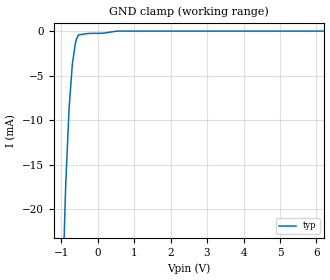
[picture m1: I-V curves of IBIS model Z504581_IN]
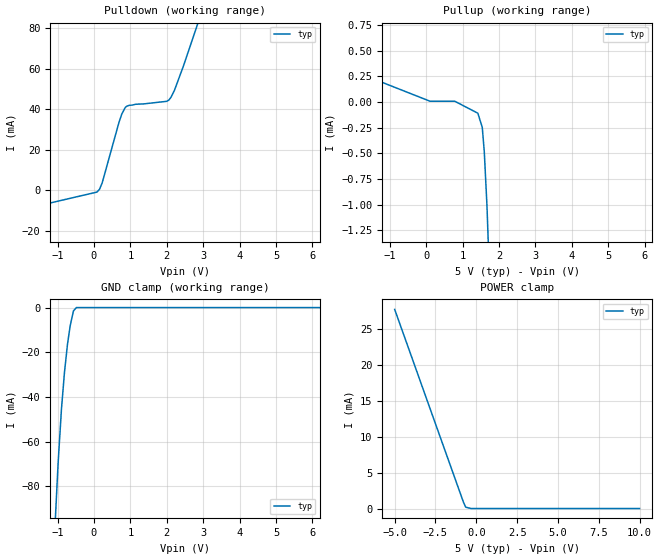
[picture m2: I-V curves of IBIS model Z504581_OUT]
| YOU ARE ONLY AUTHORIZED TO USE THIS SOFTWARE
| ACCORDING TO LICENSOR'S LICENSE RESTRICTIONS.
[IBIS Ver] 3.1
[File Name] sn74ls190d.ibs
[File Rev] 2.0
[Source] Measured and created by ICX Technology
[Date] Friday 7/14/00 9:08:18 AM
[Copyright]
| (C) COPYRIGHT 1993-2000
| MENTOR GRAPHICS CORPORATION
| ICX STANDARD LIBRARY, ICX PROJECT MODELING,
| ICX CUSTOM MODELING, ICX VENDOR MODEL
| ALL RIGHTS RESERVED.
| THE FOLLOWING ARE TRADEMARKS OR SERVICE MARKS OF
| MENTOR GRAPHICS CORPORATION:ICX (R), ICX STANDARD
| LIBRARY(R), ICX PROJECT MODELING(R), ICX CUSTOM
| MODELING(R), qualityIBIS(TM), MODELVIEWER(TM),
| AND MODELEDITOR(TM)
| ALL COPIES OF SOFTWARE, INCLUDING BUT NOT LIMITED TO
| ANY MODIFICATIONS, ENHANCEMENTS OR DERIVATIVE WORKS,
| MUST CONTAIN ALL MENTOR GRAPHICS CORPORATION'S
| NOTICES AND LEGENDS, INCLUDING THOSE EMBEDDED IN
| SOFTWARE AND THOSE AFFIXED TO SOFTWARE MEDIUM
| AND CONTAINER, AS RECEIVED FROM MENTOR GRAPHICS
| CORPORATION.
|  ZAP Model Builder 2.7
[Component] SN74LS190D
[Manufacturer] OnSemiconductor
[Package]
| variable   typ   min   max
R_pkg  .156ohms NA NA
L_pkg  3.148nH NA NA
C_pkg  .388pF NA NA
[Pin] signal_name  model_name  R_pin  L_pin C_pin
1 B Z504581_IN .162 3.798n .418p
2 QB Z504581_OUT .158 3.358n .398p
3 QA Z504581_OUT .154 2.928n .378p
4 _CTEN Z504581_IN .15 2.508n .358p
5 D_U Z504581_IN .15 2.508n .358p
6 QC Z504581_OUT .154 2.928n .378p
7 QD Z504581_OUT .158 3.358n .398p
8 GND GND .162 3.798n .418p
9 D Z504581_IN .162 3.798n .418p
10 C Z504581_IN .158 3.358n .398p
11 _LOAD Z504581_IN .154 2.928n .378p
12 MAX_MIN Z504581_OUT .15 2.508n .358p
13 _RCO Z504581_OUT .15 2.508n .358p
14 CLK Z504581_IN .154 2.928n .378p
15 A Z504581_IN .158 3.358n .398p
16 VCC POWER .162 3.798n .418p
| Models and submodels in the file (2): Z504581_IN (Input), Z504581_OUT (Output)
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| (C) COPYRIGHT 1993-2000
| MENTOR GRAPHICS CORPORATION
| ICX STANDARD LIBRARY, ICX PROJECT MODELING,
| ICX CUSTOM MODELING, ICX VENDOR MODEL
| ALL RIGHTS RESERVED.
| THE FOLLOWING ARE TRADEMARKS OR SERVICE MARKS OF
| MENTOR GRAPHICS CORPORATION:ICX (R), ICX STANDARD
| LIBRARY(R), ICX PROJECT MODELING(R), ICX CUSTOM
| MODELING(R), qualityIBIS(TM), MODELVIEWER(TM),
| AND MODELEDITOR(TM)
| ALL COPIES OF SOFTWARE, INCLUDING BUT NOT LIMITED TO
| ANY MODIFICATIONS, ENHANCEMENTS OR DERIVATIVE WORKS,
| MUST CONTAIN ALL MENTOR GRAPHICS CORPORATION'S
| NOTICES AND LEGENDS, INCLUDING THOSE EMBEDDED IN
| SOFTWARE AND THOSE AFFIXED TO SOFTWARE MEDIUM
| AND CONTAINER, AS RECEIVED FROM MENTOR GRAPHICS
| CORPORATION.
| Model Application Version 1.89 2/18/99.
[Model] Z504581_IN
Model_type Input
Vinl = 800.0mV
Vinh = 2.000V
C_comp 4.000pF NA NA
| variable typ   min   max
[Voltage Range] 5.000V NA NA
[GND Clamp Reference] 0.000V NA NA
[POWER Clamp Reference] 5.000V NA NA
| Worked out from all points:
|   GND clamp passes 1 mA (typ) near -0.59 V on its own axis
[GND Clamp]
-5V       -587.5mA   NA         NA
-873.6mV  -17.18mA   NA         NA
-780.1mV  -8.579mA   NA         NA
-693.2mV  -3.747mA   NA         NA
-613.2mV  -1.465mA   NA         NA
-580.9mV  -904.8uA   NA         NA
-527.3mV  -426.7uA   NA         NA
-263.7mV  -257.3uA   NA         NA
155.1mV   -231.8uA   NA         NA
527.2mV   8.721uA    NA         NA
10V       8.721uA    NA         NA
[POWER Clamp]
-5V       0A         NA         NA
10V       0A         NA         NA
| (C) COPYRIGHT 1993-2000
| MENTOR GRAPHICS CORPORATION
| ICX STANDARD LIBRARY, ICX PROJECT MODELING,
| ICX CUSTOM MODELING, ICX VENDOR MODEL
| ALL RIGHTS RESERVED.
| THE FOLLOWING ARE TRADEMARKS OR SERVICE MARKS OF
| MENTOR GRAPHICS CORPORATION:ICX (R), ICX STANDARD
| LIBRARY(R), ICX PROJECT MODELING(R), ICX CUSTOM
| MODELING(R), qualityIBIS(TM), MODELVIEWER(TM),
| AND MODELEDITOR(TM)
| ALL COPIES OF SOFTWARE, INCLUDING BUT NOT LIMITED TO
| ANY MODIFICATIONS, ENHANCEMENTS OR DERIVATIVE WORKS,
| MUST CONTAIN ALL MENTOR GRAPHICS CORPORATION'S
| NOTICES AND LEGENDS, INCLUDING THOSE EMBEDDED IN
| SOFTWARE AND THOSE AFFIXED TO SOFTWARE MEDIUM
| AND CONTAINER, AS RECEIVED FROM MENTOR GRAPHICS
| CORPORATION.
| Model Application Version 1.89 2/18/99.
[Model] Z504581_OUT
Model_type Output
Vref=5.000V
Rref=2.000kohms
Cref=15.00pF
Vmeas=1.300V
C_comp 8.000pF NA NA
| variable typ   min   max
[Voltage Range] 5.000V NA NA
[POWER Clamp Reference] 5.000V NA NA
[Pullup Reference] 5.000V NA NA
[Pulldown Reference] 0.000V NA NA
[GND Clamp Reference] 0.000V NA NA
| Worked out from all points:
|   slope of the pulldown table from 0 to 0.75 V, typ, clamps not added: 19.7 ohm
|   slope of the pullup table from 0 to 0.75 V, typ, clamps not added: 49.9 kohm
|   GND clamp passes 1 mA (typ) near -0.54 V on its own axis
[GND Clamp]
-5V       -1.642A    NA         NA
-1.089V   -104.1mA   NA         NA
-985.4mV  -69.88mA   NA         NA
-893.5mV  -45.68mA   NA         NA
-810.5mV  -29.07mA   NA         NA
-727.5mV  -16.49mA   NA         NA
-654.1mV  -8.251mA   NA         NA
-564.1mV  -1.54mA    NA         NA
-483.5mV  0A         NA         NA
10V       0A         NA         NA
[Pulldown]
-5V       -22.18mA   NA         NA
87.89mV   -839.3uA   NA         NA
151.4mV   401.6uA    NA         NA
224.6mV   3.519mA    NA         NA
688.7mV   33.57mA    NA         NA
766.6mV   37.64mA    NA         NA
860.4mV   40.84mA    NA         NA
1.143V    42.41mA    NA         NA
2.056V    44.45mA    NA         NA
2.211V    49.3mA     NA         NA
2.456V    61.18mA    NA         NA
10V       462.3mA    NA         NA
[Pullup]
-5V       721.7uA    NA         NA
107.5mV   8.103uA    NA         NA
786mV     8.103uA    NA         NA
1.421V    -108.5uA   NA         NA
1.543V    -247.6uA   NA         NA
1.598V    -484.9uA   NA         NA
1.671V    -1.005mA   NA         NA
10V       -84.29mA   NA         NA
[POWER Clamp]
-5V       27.8mA     NA         NA
-781mV    836.8uA    NA         NA
-648mV    187.4uA    NA         NA
-324mV    0A         NA         NA
10V       0A         NA         NA
[Ramp]
| variable typ min max
dV/dt_r 1.644/7.649n NA NA
dV/dt_f 1.644/2.079n NA NA
R_load = 500.0Ohms
